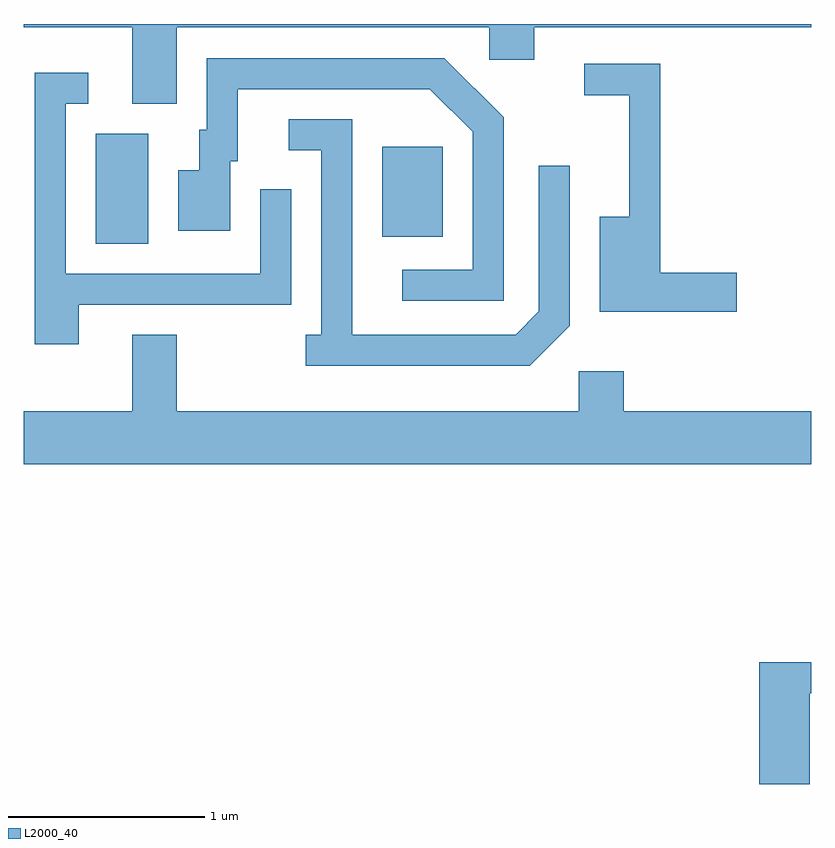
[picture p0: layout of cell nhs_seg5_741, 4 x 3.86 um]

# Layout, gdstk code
import gdstk
lib = gdstk.Library(unit=1e-6, precision=1e-09)
def R(c, l, rs):  # rectangles x0, y0, x1, y1
    for r in rs: c.add(gdstk.rectangle(r[:2], r[2:], *l))
def P(c, l, *ps):  # polygons
    for p in ps: c.add(gdstk.Polygon(p, *l))
L2000_40 = (2000, 40)

nhs_seg5_741 = lib.new_cell('nhs_seg5_741')
R(nhs_seg5_741, L2000_40, [(205.976,1528.956,206.244,1529.514), (207.431,1528.991,207.739,1529.449)])
P(nhs_seg5_741, L2000_40, [(206.389,1530.056),(207.976,1530.056),(207.976,1529.891),(208.204,1529.891),(208.204,1530.056),(209.611,1530.056),(209.611,1530.072),(205.611,1530.072),(205.611,1530.056),(206.161,1530.056),(206.161,1529.666),(206.389,1529.666)],
  [(208.049,1529.597),(207.747,1529.899),(206.541,1529.899),(206.541,1529.534),(206.501,1529.534),(206.501,1529.329),(206.396,1529.329),(206.396,1529.021),(206.659,1529.021),(206.659,1529.376),(206.699,1529.376),(206.699,1529.741),(207.674,1529.741),(207.891,1529.524),(207.891,1528.824),(207.533,1528.824),(207.533,1528.666),(208.049,1528.666)],
  [(209.234,1528.809),(208.844,1528.809),(208.844,1529.869),(208.458,1529.869),(208.458,1529.711),(208.686,1529.711),(208.686,1529.094),(208.536,1529.094),(208.536,1528.611),(209.234,1528.611)],
  [(205.889,1528.646),(206.969,1528.646),(206.969,1529.233),(206.811,1529.233),(206.811,1528.804),(205.824,1528.804),(205.824,1529.666),(205.938,1529.666),(205.938,1529.824),(205.666,1529.824),(205.666,1528.446),(205.889,1528.446)],
  [(208.384,1528.539),(208.384,1529.353),(208.226,1529.353),(208.226,1528.612),(208.109,1528.494),(207.279,1528.494),(207.279,1529.589),(206.958,1529.589),(206.958,1529.431),(207.121,1529.431),(207.121,1528.494),(207.043,1528.494),(207.043,1528.336),(208.182,1528.336)],
  [(209.611,1528.104),(208.659,1528.104),(208.659,1528.309),(208.431,1528.309),(208.431,1528.104),(206.389,1528.104),(206.389,1528.494),(206.161,1528.494),(206.161,1528.104),(205.611,1528.104),(205.611,1527.836),(209.611,1527.836)],
  [(209.604,1526.671),(209.611,1526.671),(209.611,1526.829),(209.346,1526.829),(209.346,1526.211),(209.604,1526.211)])

lib.write_gds('nhs_seg5_741.gds')
